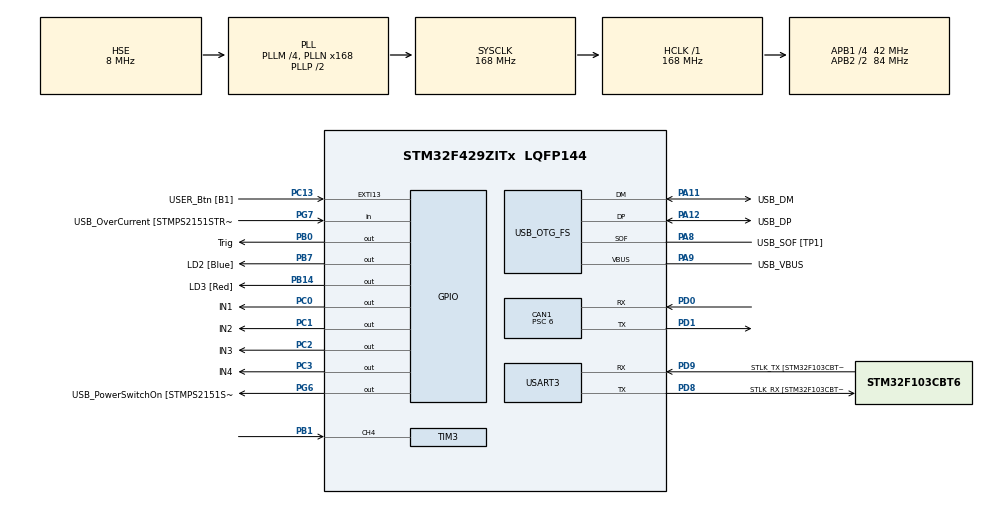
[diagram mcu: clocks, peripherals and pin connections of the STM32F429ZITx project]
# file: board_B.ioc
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CAN1.ABOM=ENABLE
CAN1.BS1=CAN_BS1_11TQ
CAN1.BS2=CAN_BS2_2TQ
CAN1.CalculateBaudRate=500000
CAN1.CalculateTimeBit=2000
CAN1.CalculateTimeQuantum=142.85714285714286
CAN1.NART=ENABLE
CAN1.Prescaler=6
FREERTOS.Tasks01=systemTask,-2,1024,SystemTask,Default,NULL,Dynamic,NULL,NULL;motorTask,0,1024,MotorControlTask,Default,NULL,Dynamic,NULL,NULL;ultraCanTask,0,1024,UltrasonicCanTask,Default,NULL,Dynamic,NULL,NULL
Mcu.Family=STM32F4
Mcu.Name=STM32F429ZITx
Mcu.Package=LQFP144
NVIC.CAN1_RX0_IRQn=true\:5\:0\:false\:false\:true\:true\:true\:true\:true
NVIC.PriorityGroup=NVIC_PRIORITYGROUP_4
NVIC.TIM3_IRQn=true\:5\:0\:false\:false\:true\:true\:true\:true\:true
PA1.GPIO_Label=RMII_REF_CLK [LAN8742A-CZ-TR_REFCLK0]
PA1.Signal=ETH_REF_CLK
PA10.GPIO_Label=USB_ID
PA10.Signal=USB_OTG_FS_ID
PA11.GPIO_Label=USB_DM
PA11.Mode=Device_Only
PA11.Signal=USB_OTG_FS_DM
PA12.GPIO_Label=USB_DP
PA12.Mode=Device_Only
PA12.Signal=USB_OTG_FS_DP
PA13.GPIO_Label=TMS
PA13.Mode=Serial_Wire
PA13.Signal=SYS_JTMS-SWDIO
PA14.GPIO_Label=TCK
PA14.Mode=Serial_Wire
PA14.Signal=SYS_JTCK-SWCLK
PA2.GPIO_Label=RMII_MDIO [LAN8742A-CZ-TR_MDIO]
PA2.Signal=ETH_MDIO
PA7.GPIO_Label=RMII_CRS_DV [LAN8742A-CZ-TR_CRS_DV]
PA7.Signal=ETH_CRS_DV
PA8.GPIO_Label=USB_SOF [TP1]
PA8.Mode=Activate_SOF_FS
PA8.Signal=USB_OTG_FS_SOF
PA9.GPIO_Label=USB_VBUS
PA9.Mode=Activate_VBUS
PA9.Signal=USB_OTG_FS_VBUS
PB0.GPIO_Label=Trig
PB0.Signal=GPIO_Output
PB1.Signal=S_TIM3_CH4
PB13.GPIO_Label=RMII_TXD1 [LAN8742A-CZ-TR_TXD1]
PB13.Signal=ETH_TXD1
PB14.GPIO_Label=LD3 [Red]
PB14.Signal=GPIO_Output
PB7.GPIO_Label=LD2 [Blue]
PB7.Signal=GPIO_Output
PC0.GPIO_Label=IN1
PC0.Signal=GPIO_Output
PC1.GPIO_Label=IN2
PC1.Signal=GPIO_Output
PC13.GPIO_Label=USER_Btn [B1]
PC13.Signal=GPXTI13
PC14/OSC32_IN.Mode=LSE-External-Oscillator
PC14/OSC32_IN.Signal=RCC_OSC32_IN
PC15/OSC32_OUT.Mode=LSE-External-Oscillator
PC15/OSC32_OUT.Signal=RCC_OSC32_OUT
PC2.GPIO_Label=IN3
PC2.Signal=GPIO_Output
PC3.GPIO_Label=IN4
PC3.Signal=GPIO_Output
PC4.GPIO_Label=RMII_RXD0 [LAN8742A-CZ-TR_RXD0]
PC4.Signal=ETH_RXD0
PC5.GPIO_Label=RMII_RXD1 [LAN8742A-CZ-TR_RXD1]
PC5.Signal=ETH_RXD1
PD0.Mode=CAN_Activate
PD0.Signal=CAN1_RX
PD1.Mode=CAN_Activate
PD1.Signal=CAN1_TX
PD8.GPIO_Label=STLK_RX [STM32F103CBT6_PA3]
PD8.Mode=Asynchronous
PD8.Signal=USART3_TX
PD9.GPIO_Label=STLK_TX [STM32F103CBT6_PA2]
PD9.Mode=Asynchronous
PD9.Signal=USART3_RX
PG11.GPIO_Label=RMII_TX_EN [LAN8742A-CZ-TR_TXEN]
PG11.Signal=ETH_TX_EN
PG13.GPIO_Label=RMII_TXD0 [LAN8742A-CZ-TR_TXD0]
PG13.Signal=ETH_TXD0
PG6.GPIO_Label=USB_PowerSwitchOn [STMPS2151STR_EN]
PG6.Signal=GPIO_Output
PG7.GPIO_Label=USB_OverCurrent [STMPS2151STR_FAULT]
PG7.Signal=GPIO_Input
PH0/OSC_IN.GPIO_Label=MCO [STM32F103CBT6_PA8]
PH0/OSC_IN.Mode=HSE-External-Clock-Source
PH0/OSC_IN.Signal=RCC_OSC_IN
PH1/OSC_OUT.Mode=HSE-External-Clock-Source
PH1/OSC_OUT.Signal=RCC_OSC_OUT
ProjectManager.HeapSize=0x200
ProjectManager.StackSize=0x400
ProjectManager.TargetToolchain=STM32CubeIDE
RCC.48MHZClocksFreq_Value=48000000
RCC.AHBFreq_Value=168000000
RCC.APB1CLKDivider=RCC_HCLK_DIV4
RCC.APB1Freq_Value=42000000
RCC.APB1TimFreq_Value=84000000
RCC.APB2CLKDivider=RCC_HCLK_DIV2
RCC.APB2Freq_Value=84000000
RCC.APB2TimCLKDivider=2
RCC.APB2TimFreq_Value=168000000
RCC.CortexFreq_Value=168000000
RCC.HCLKFreq_Value=168000000
RCC.HSE_VALUE=8000000
RCC.HSI_VALUE=16000000
RCC.PLLM=4
RCC.PLLMUL=RCC_PLL_MUL9
RCC.PLLN=168
RCC.PLLQ=7
RCC.PRESCALERUSB=RCC_USBCLKSOURCE_PLL_DIV1_5
RCC.SYSCLKFreq_VALUE=168000000
RCC.SYSCLKSource=RCC_SYSCLKSOURCE_PLLCLK
RCC.SYSCLKSourceVirtual=RCC_SYSCLKSOURCE_PLLCLK
RCC.USBFreq_Value=48000000
RCC.VCOOutputFreq_Value=336000000
SH.S_TIM3_CH4.0=TIM3_CH4,Input_Capture4_from_TI4
TIM3.Channel-Input_Capture4_from_TI4=TIM_CHANNEL_4
TIM3.Prescaler=84-1
USART3.VirtualMode=VM_ASYNC
USB_OTG_FS.VirtualMode=Device_Only
VP_FREERTOS_VS_CMSIS_V1.Mode=CMSIS_V1
VP_TIM3_VS_ClockSourceINT.Mode=Internal
board=NUCLEO-F429ZI

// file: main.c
/* USER CODE BEGIN Header */
/**
  ******************************************************************************
  * @file           : main.c
  * @brief          : Main program body
  ******************************************************************************
  * @attention
  *
  * Copyright (c) 2026 STMicroelectronics.
  * All rights reserved.
  *
  * This software is licensed under terms that can be found in the LICENSE file
  * in the root directory of this software component.
  * If no LICENSE file comes with this software, it is provided AS-IS.
  *
  ******************************************************************************
  */
/* USER CODE END Header */
#include "main.h"
#include "cmsis_os.h"

/* USER CODE BEGIN Includes */
#include <stdio.h>
/* USER CODE END Includes */

/* USER CODE BEGIN PD */
#define CAN_ID_B_ULTRA_CM     0x201
#define CAN_ID_B_MOTOR_ANGLE  0x202
/* USER CODE END PD */

CAN_HandleTypeDef hcan1;

TIM_HandleTypeDef htim3;

UART_HandleTypeDef huart3;

PCD_HandleTypeDef hpcd_USB_OTG_FS;

osThreadId systemTaskHandle;
osThreadId motorTaskHandle;
osThreadId ultraCanTaskHandle;
/* USER CODE BEGIN PV */
osSemaphoreId ultraSemHandle;
osMutexId uartMutexHandle;
/* USER CODE END PV */

void SystemClock_Config(void);
static void MX_GPIO_Init(void);
static void MX_CAN1_Init(void);
static void MX_TIM3_Init(void);
static void MX_USART3_UART_Init(void);
static void MX_USB_OTG_FS_PCD_Init(void);
void SystemTask(void const * argument);
void MotorControlTask(void const * argument);
void UltrasonicCanTask(void const * argument);

/* USER CODE BEGIN 0 */

/* === Motor Command from CAN === */
volatile int32_t motor_step_count = 0;
volatile float motor_angle = 0.0f;

/* === Ultrasonic === */
volatile uint32_t ic_rise = 0;
volatile uint32_t ic_fall = 0;
volatile uint8_t  ic_state = 0;
volatile uint32_t pulse_width_us = 0;

int _write(int file, char *ptr, int len)
{
    // 커널 시작 전에는 뮤텍스 안 씀
    if (osKernelRunning() && uartMutexHandle)
        osMutexWait(uartMutexHandle, osWaitForever);

    HAL_UART_Transmit(&huart3, (uint8_t*)ptr, len, 100);

    if (osKernelRunning() && uartMutexHandle)
        osMutexRelease(uartMutexHandle);

    return len;
}

static const uint8_t step_seq[4][4] = {
    {1,1,0,0},
    {0,1,1,0},
    {0,0,1,1},
    {1,0,0,1}
};

static inline void DWT_Init(void)
{
    CoreDebug->DEMCR |= CoreDebug_DEMCR_TRCENA_Msk;
    DWT->CYCCNT = 0;
    DWT->CTRL |= DWT_CTRL_CYCCNTENA_Msk;
}

static inline void delay_us(uint32_t us)
{
    uint32_t start = DWT->CYCCNT;
    uint32_t ticks = us * (SystemCoreClock / 1000000);
    while ((DWT->CYCCNT - start) < ticks);
}

/* === CAN === */
void CAN_Filter_Config(void);
void CAN_Send(uint16_t id, uint8_t *data, uint8_t len);

/* === Ultrasonic Trigger === */
void Ultrasonic_Trigger(void);
/* USER CODE END 0 */

int main(void)
{

  /* MCU Configuration--------------------------------------------------------*/

  /* Reset of all peripherals, Initializes the Flash interface and the Systick. */
  HAL_Init();

  /* Configure the system clock */
  SystemClock_Config();

  /* Initialize all configured peripherals */
  MX_GPIO_Init();
  MX_CAN1_Init();
  MX_TIM3_Init();
  MX_USART3_UART_Init();
  MX_USB_OTG_FS_PCD_Init();
  /* USER CODE BEGIN 2 */
  DWT_Init();
  /* CAN */
  CAN_Filter_Config();
  HAL_CAN_Start(&hcan1);

/*   CAN RX 인터럽트 활성화
  HAL_CAN_ActivateNotification(
      &hcan1,
      CAN_IT_RX_FIFO0_MSG_PENDING
  );*/

  /* TIM3 Input Capture Start */
  HAL_TIM_IC_Start_IT(&htim3, TIM_CHANNEL_4);
  /* USER CODE END 2 */

  /* USER CODE BEGIN RTOS_MUTEX */
  osMutexDef(uartMutex);
  uartMutexHandle = osMutexCreate(osMutex(uartMutex));
  /* USER CODE END RTOS_MUTEX */

  /* USER CODE BEGIN RTOS_SEMAPHORES */
  osSemaphoreDef(ultraSem);
  ultraSemHandle = osSemaphoreCreate(osSemaphore(ultraSem), 1);
  osSemaphoreWait(ultraSemHandle, 0); // 초기값 0
  /* USER CODE END RTOS_SEMAPHORES */

  /* Create the thread(s) */
  /* definition and creation of systemTask */
  osThreadDef(systemTask, SystemTask, osPriorityLow, 0, 1024);
  systemTaskHandle = osThreadCreate(osThread(systemTask), NULL);

  /* definition and creation of motorTask */
  osThreadDef(motorTask, MotorControlTask, osPriorityNormal, 0, 1024);
  motorTaskHandle = osThreadCreate(osThread(motorTask), NULL);

  /* definition and creation of ultraCanTask */
  osThreadDef(ultraCanTask, UltrasonicCanTask, osPriorityNormal, 0, 1024);
  ultraCanTaskHandle = osThreadCreate(osThread(ultraCanTask), NULL);

  /* Start scheduler */
  osKernelStart();

  /* We should never get here as control is now taken by the scheduler */

  /* Infinite loop */
  while (1)
  {

  }
}

void SystemClock_Config(void)
{
  RCC_OscInitTypeDef RCC_OscInitStruct = {0};
  RCC_ClkInitTypeDef RCC_ClkInitStruct = {0};

  /** Configure the main internal regulator output voltage
  */
  __HAL_RCC_PWR_CLK_ENABLE();
  __HAL_PWR_VOLTAGESCALING_CONFIG(PWR_REGULATOR_VOLTAGE_SCALE1);

  /** Initializes the RCC Oscillators according to the specified parameters
  * in the RCC_OscInitTypeDef structure.
  */
  RCC_OscInitStruct.OscillatorType = RCC_OSCILLATORTYPE_HSE;
  RCC_OscInitStruct.HSEState = RCC_HSE_BYPASS;
  RCC_OscInitStruct.PLL.PLLState = RCC_PLL_ON;
  RCC_OscInitStruct.PLL.PLLSource = RCC_PLLSOURCE_HSE;
  RCC_OscInitStruct.PLL.PLLM = 4;
  RCC_OscInitStruct.PLL.PLLN = 168;
  RCC_OscInitStruct.PLL.PLLP = RCC_PLLP_DIV2;
  RCC_OscInitStruct.PLL.PLLQ = 7;
  if (HAL_RCC_OscConfig(&RCC_OscInitStruct) != HAL_OK)
  {
    Error_Handler();
  }

  /** Initializes the CPU, AHB and APB buses clocks
  */
  RCC_ClkInitStruct.ClockType = RCC_CLOCKTYPE_HCLK|RCC_CLOCKTYPE_SYSCLK
                              |RCC_CLOCKTYPE_PCLK1|RCC_CLOCKTYPE_PCLK2;
  RCC_ClkInitStruct.SYSCLKSource = RCC_SYSCLKSOURCE_PLLCLK;
  RCC_ClkInitStruct.AHBCLKDivider = RCC_SYSCLK_DIV1;
  RCC_ClkInitStruct.APB1CLKDivider = RCC_HCLK_DIV4;
  RCC_ClkInitStruct.APB2CLKDivider = RCC_HCLK_DIV2;

  if (HAL_RCC_ClockConfig(&RCC_ClkInitStruct, FLASH_LATENCY_5) != HAL_OK)
  {
    Error_Handler();
  }
}

static void MX_CAN1_Init(void)
{

  hcan1.Instance = CAN1;
  hcan1.Init.Prescaler = 6;
  hcan1.Init.Mode = CAN_MODE_NORMAL;
  hcan1.Init.SyncJumpWidth = CAN_SJW_1TQ;
  hcan1.Init.TimeSeg1 = CAN_BS1_11TQ;
  hcan1.Init.TimeSeg2 = CAN_BS2_2TQ;
  hcan1.Init.TimeTriggeredMode = DISABLE;
  hcan1.Init.AutoBusOff = ENABLE;
  hcan1.Init.AutoWakeUp = DISABLE;
  hcan1.Init.AutoRetransmission = ENABLE;
  hcan1.Init.ReceiveFifoLocked = DISABLE;
  hcan1.Init.TransmitFifoPriority = DISABLE;
  if (HAL_CAN_Init(&hcan1) != HAL_OK)
  {
    Error_Handler();
  }

}

static void MX_TIM3_Init(void)
{

  TIM_ClockConfigTypeDef sClockSourceConfig = {0};
  TIM_MasterConfigTypeDef sMasterConfig = {0};
  TIM_IC_InitTypeDef sConfigIC = {0};

  htim3.Instance = TIM3;
  htim3.Init.Prescaler = 84-1;
  htim3.Init.CounterMode = TIM_COUNTERMODE_UP;
  htim3.Init.Period = 65535;
  htim3.Init.ClockDivision = TIM_CLOCKDIVISION_DIV1;
  htim3.Init.AutoReloadPreload = TIM_AUTORELOAD_PRELOAD_DISABLE;
  if (HAL_TIM_Base_Init(&htim3) != HAL_OK)
  {
    Error_Handler();
  }
  sClockSourceConfig.ClockSource = TIM_CLOCKSOURCE_INTERNAL;
  if (HAL_TIM_ConfigClockSource(&htim3, &sClockSourceConfig) != HAL_OK)
  {
    Error_Handler();
  }
  if (HAL_TIM_IC_Init(&htim3) != HAL_OK)
  {
    Error_Handler();
  }
  sMasterConfig.MasterOutputTrigger = TIM_TRGO_RESET;
  sMasterConfig.MasterSlaveMode = TIM_MASTERSLAVEMODE_DISABLE;
  if (HAL_TIMEx_MasterConfigSynchronization(&htim3, &sMasterConfig) != HAL_OK)
  {
    Error_Handler();
  }
  sConfigIC.ICPolarity = TIM_INPUTCHANNELPOLARITY_RISING;
  sConfigIC.ICSelection = TIM_ICSELECTION_DIRECTTI;
  sConfigIC.ICPrescaler = TIM_ICPSC_DIV1;
  sConfigIC.ICFilter = 0;
  if (HAL_TIM_IC_ConfigChannel(&htim3, &sConfigIC, TIM_CHANNEL_4) != HAL_OK)
  {
    Error_Handler();
  }

}

static void MX_USART3_UART_Init(void)
{

  huart3.Instance = USART3;
  huart3.Init.BaudRate = 115200;
  huart3.Init.WordLength = UART_WORDLENGTH_8B;
  huart3.Init.StopBits = UART_STOPBITS_1;
  huart3.Init.Parity = UART_PARITY_NONE;
  huart3.Init.Mode = UART_MODE_TX_RX;
  huart3.Init.HwFlowCtl = UART_HWCONTROL_NONE;
  huart3.Init.OverSampling = UART_OVERSAMPLING_16;
  if (HAL_UART_Init(&huart3) != HAL_OK)
  {
    Error_Handler();
  }

}

static void MX_USB_OTG_FS_PCD_Init(void)
{

  hpcd_USB_OTG_FS.Instance = USB_OTG_FS;
  hpcd_USB_OTG_FS.Init.dev_endpoints = 4;
  hpcd_USB_OTG_FS.Init.speed = PCD_SPEED_FULL;
  hpcd_USB_OTG_FS.Init.dma_enable = DISABLE;
  hpcd_USB_OTG_FS.Init.phy_itface = PCD_PHY_EMBEDDED;
  hpcd_USB_OTG_FS.Init.Sof_enable = ENABLE;
  hpcd_USB_OTG_FS.Init.low_power_enable = DISABLE;
  hpcd_USB_OTG_FS.Init.lpm_enable = DISABLE;
  hpcd_USB_OTG_FS.Init.vbus_sensing_enable = ENABLE;
  hpcd_USB_OTG_FS.Init.use_dedicated_ep1 = DISABLE;
  if (HAL_PCD_Init(&hpcd_USB_OTG_FS) != HAL_OK)
  {
    Error_Handler();
  }

}

static void MX_GPIO_Init(void)
{
  GPIO_InitTypeDef GPIO_InitStruct = {0};

  /* GPIO Ports Clock Enable */
  __HAL_RCC_GPIOC_CLK_ENABLE();
  __HAL_RCC_GPIOH_CLK_ENABLE();
  __HAL_RCC_GPIOA_CLK_ENABLE();
  __HAL_RCC_GPIOB_CLK_ENABLE();
  __HAL_RCC_GPIOD_CLK_ENABLE();
  __HAL_RCC_GPIOG_CLK_ENABLE();

  /*Configure GPIO pin Output Level */
  HAL_GPIO_WritePin(GPIOC, IN1_Pin|IN2_Pin|IN3_Pin|IN4_Pin, GPIO_PIN_RESET);

  /*Configure GPIO pin Output Level */
/*  HAL_GPIO_WritePin(Trig_GPIO_Port, Trig_Pin, GPIO_PIN_SET);
  delay_us(10);*/
  HAL_GPIO_WritePin(Trig_GPIO_Port, Trig_Pin, GPIO_PIN_RESET);

  /*Configure GPIO pin Output Level */
  HAL_GPIO_WritePin(USB_PowerSwitchOn_GPIO_Port, USB_PowerSwitchOn_Pin, GPIO_PIN_RESET);

  /*Configure GPIO pin : USER_Btn_Pin */
  GPIO_InitStruct.Pin = USER_Btn_Pin;
  GPIO_InitStruct.Mode = GPIO_MODE_IT_RISING;
  GPIO_InitStruct.Pull = GPIO_NOPULL;
  HAL_GPIO_Init(USER_Btn_GPIO_Port, &GPIO_InitStruct);

  /*Configure GPIO pins : IN1_Pin IN2_Pin IN3_Pin IN4_Pin */
  GPIO_InitStruct.Pin = IN1_Pin|IN2_Pin|IN3_Pin|IN4_Pin;
  GPIO_InitStruct.Mode = GPIO_MODE_OUTPUT_PP;
  GPIO_InitStruct.Pull = GPIO_NOPULL;
  GPIO_InitStruct.Speed = GPIO_SPEED_FREQ_LOW;
  HAL_GPIO_Init(GPIOC, &GPIO_InitStruct);

  /*Configure GPIO pins : RMII_REF_CLK_Pin RMII_MDIO_Pin RMII_CRS_DV_Pin */
  GPIO_InitStruct.Pin = RMII_REF_CLK_Pin|RMII_MDIO_Pin|RMII_CRS_DV_Pin;
  GPIO_InitStruct.Mode = GPIO_MODE_AF_PP;
  GPIO_InitStruct.Pull = GPIO_NOPULL;
  GPIO_InitStruct.Speed = GPIO_SPEED_FREQ_VERY_HIGH;
  GPIO_InitStruct.Alternate = GPIO_AF11_ETH;
  HAL_GPIO_Init(GPIOA, &GPIO_InitStruct);

  /*Configure GPIO pins : RMII_RXD0_Pin RMII_RXD1_Pin */
  GPIO_InitStruct.Pin = RMII_RXD0_Pin|RMII_RXD1_Pin;
  GPIO_InitStruct.Mode = GPIO_MODE_AF_PP;
  GPIO_InitStruct.Pull = GPIO_NOPULL;
  GPIO_InitStruct.Speed = GPIO_SPEED_FREQ_VERY_HIGH;
  GPIO_InitStruct.Alternate = GPIO_AF11_ETH;
  HAL_GPIO_Init(GPIOC, &GPIO_InitStruct);

  /*Configure GPIO pins : Trig_Pin LD3_Pin LD2_Pin */
  GPIO_InitStruct.Pin = Trig_Pin|LD3_Pin|LD2_Pin;
  GPIO_InitStruct.Mode = GPIO_MODE_OUTPUT_PP;
  GPIO_InitStruct.Pull = GPIO_NOPULL;
  GPIO_InitStruct.Speed = GPIO_SPEED_FREQ_LOW;
  HAL_GPIO_Init(GPIOB, &GPIO_InitStruct);

  /*Configure GPIO pin : RMII_TXD1_Pin */
  GPIO_InitStruct.Pin = RMII_TXD1_Pin;
  GPIO_InitStruct.Mode = GPIO_MODE_AF_PP;
  GPIO_InitStruct.Pull = GPIO_NOPULL;
  GPIO_InitStruct.Speed = GPIO_SPEED_FREQ_VERY_HIGH;
  GPIO_InitStruct.Alternate = GPIO_AF11_ETH;
  HAL_GPIO_Init(RMII_TXD1_GPIO_Port, &GPIO_InitStruct);

  /*Configure GPIO pin : USB_PowerSwitchOn_Pin */
  GPIO_InitStruct.Pin = USB_PowerSwitchOn_Pin;
  GPIO_InitStruct.Mode = GPIO_MODE_OUTPUT_PP;
  GPIO_InitStruct.Pull = GPIO_NOPULL;
  GPIO_InitStruct.Speed = GPIO_SPEED_FREQ_LOW;
  HAL_GPIO_Init(USB_PowerSwitchOn_GPIO_Port, &GPIO_InitStruct);

  /*Configure GPIO pin : USB_OverCurrent_Pin */
  GPIO_InitStruct.Pin = USB_OverCurrent_Pin;
  GPIO_InitStruct.Mode = GPIO_MODE_INPUT;
  GPIO_InitStruct.Pull = GPIO_NOPULL;
  HAL_GPIO_Init(USB_OverCurrent_GPIO_Port, &GPIO_InitStruct);

  /*Configure GPIO pins : RMII_TX_EN_Pin RMII_TXD0_Pin */
  GPIO_InitStruct.Pin = RMII_TX_EN_Pin|RMII_TXD0_Pin;
  GPIO_InitStruct.Mode = GPIO_MODE_AF_PP;
  GPIO_InitStruct.Pull = GPIO_NOPULL;
  GPIO_InitStruct.Speed = GPIO_SPEED_FREQ_VERY_HIGH;
  GPIO_InitStruct.Alternate = GPIO_AF11_ETH;
  HAL_GPIO_Init(GPIOG, &GPIO_InitStruct);

}

/* USER CODE BEGIN 4 */
/*void HAL_CAN_RxFifo0MsgPendingCallback(CAN_HandleTypeDef *hcan)
{
	CAN_RxHeaderTypeDef rxHeader;
	uint8_t data[8];

	HAL_CAN_GetRxMessage(hcan, CAN_RX_FIFO0, &rxHeader, data);

	if (rxHeader.StdId == 0x101)   // 보드 A → 모터 명령
	{
		rx_step_delay = data[0];   // 스텝 딜레이(ms)
		rx_dir        = data[1];   // 방향
		rx_motor_cmd_updated = 1;
	}
}*/

void Motor_Step_Output(uint8_t step)
{
    HAL_GPIO_WritePin(GPIOC, IN1_Pin, step_seq[step][0] ? GPIO_PIN_SET : GPIO_PIN_RESET);
    HAL_GPIO_WritePin(GPIOC, IN2_Pin, step_seq[step][1] ? GPIO_PIN_SET : GPIO_PIN_RESET);
    HAL_GPIO_WritePin(GPIOC, IN3_Pin, step_seq[step][2] ? GPIO_PIN_SET : GPIO_PIN_RESET);
    HAL_GPIO_WritePin(GPIOC, IN4_Pin, step_seq[step][3] ? GPIO_PIN_SET : GPIO_PIN_RESET);
}

void HAL_TIM_IC_CaptureCallback(TIM_HandleTypeDef *htim)
{
    if (htim->Instance == TIM3 &&
        htim->Channel == HAL_TIM_ACTIVE_CHANNEL_4)
    {
        if (ic_state == 0)
        {
            ic_rise = HAL_TIM_ReadCapturedValue(htim, TIM_CHANNEL_4);
            __HAL_TIM_SET_CAPTUREPOLARITY(
                htim,
                TIM_CHANNEL_4,
                TIM_INPUTCHANNELPOLARITY_FALLING
            );
            ic_state = 1;
        }
        else
        {
            ic_fall = HAL_TIM_ReadCapturedValue(htim, TIM_CHANNEL_4);
            __HAL_TIM_SET_CAPTUREPOLARITY(
                htim,
                TIM_CHANNEL_4,
                TIM_INPUTCHANNELPOLARITY_RISING
            );

            if (ic_fall > ic_rise)
                pulse_width_us = ic_fall - ic_rise;
            else
                pulse_width_us = (0xFFFF - ic_rise) + ic_fall;

            ic_state = 0;
            osSemaphoreRelease(ultraSemHandle);
        }
    }
}

void Ultrasonic_Trigger(void)
{
    HAL_GPIO_WritePin(GPIOB, GPIO_PIN_0, GPIO_PIN_SET);
    delay_us(10);               // 10µs 이상이면 OK
    HAL_GPIO_WritePin(GPIOB, GPIO_PIN_0, GPIO_PIN_RESET);
}

void CAN_Filter_Config(void)
{
    CAN_FilterTypeDef filter;

    filter.FilterBank = 0;
    filter.FilterMode = CAN_FILTERMODE_IDMASK;
    filter.FilterScale = CAN_FILTERSCALE_32BIT;

    filter.FilterIdHigh = 0x0000;
    filter.FilterIdLow  = 0x0000;
    filter.FilterMaskIdHigh = 0x0000;
    filter.FilterMaskIdLow  = 0x0000;

    filter.FilterFIFOAssignment = CAN_RX_FIFO0;
    filter.FilterActivation = ENABLE;

    HAL_CAN_ConfigFilter(&hcan1, &filter);
}

void CAN_Send(uint16_t id, uint8_t *data, uint8_t len)
{
    CAN_TxHeaderTypeDef txHeader;
    uint32_t txMailbox;

    txHeader.StdId = id;
    txHeader.IDE   = CAN_ID_STD;
    txHeader.RTR   = CAN_RTR_DATA;
    txHeader.DLC   = len;
    txHeader.TransmitGlobalTime = DISABLE;

    while (HAL_CAN_GetTxMailboxesFreeLevel(&hcan1) == 0);

    HAL_CAN_AddTxMessage(&hcan1, &txHeader, data, &txMailbox);
}
/* USER CODE END 4 */

void SystemTask(void const * argument)
{
  /* USER CODE BEGIN 5 */
	for (;;)
	{
/*		printf("SystemTask alive\r\n");*/
		HAL_GPIO_TogglePin(GPIOB, LD2_Pin);
		osDelay(1000);
	}
  /* USER CODE END 5 */
}

void MotorControlTask(void const * argument)
{
  /* USER CODE BEGIN MotorControlTask */
	static uint32_t print_cnt = 0;
	uint8_t step = 0;

	// 1회전 스텝수(너의 구동 방식에 맞게 조정)
	const int32_t STEPS_PER_REV = 2048;   // 필요하면 2048 등으로 바꿔서 캘리브레이션
	const uint32_t STEP_DELAY_MS = 3;   // 일정 속도

	uint8_t can_data[2];
  /* Infinite loop */
	for(;;)
	{
		/* 1) 모터 구동 */
		Motor_Step_Output(step);
		step = (step + 1) % 4;

		/* 2) 스텝 누적 */
		motor_step_count++;

		/* 3) 각도 계산 */
		int32_t mod = motor_step_count % STEPS_PER_REV;
		if (mod < 0) mod += STEPS_PER_REV;

		uint16_t angle_x10 =
			(uint16_t)((mod * 3600) / STEPS_PER_REV); // 0~3599

		/* 4) 주기적 printf */
		print_cnt++;
		if (print_cnt >= 50)
		{
			print_cnt = 0;
			printf("[B] STEP=%ld  ANGLE=%.1f deg\r\n",
				   motor_step_count,
				   angle_x10 / 10.0f);
		}

		/* 5) CAN 송신 */
		can_data[0] = (angle_x10 >> 8) & 0xFF;
		can_data[1] = angle_x10 & 0xFF;

		CAN_Send(CAN_ID_B_MOTOR_ANGLE, can_data, 2);

		osDelay(STEP_DELAY_MS);
	}
  /* USER CODE END MotorControlTask */
}

void UltrasonicCanTask(void const * argument)
{
  /* USER CODE BEGIN UltrasonicCanTask */
	uint8_t can_data[2];
	/* Infinite loop */
	for(;;)
	{
		/* 1) 초음파 트리거 */
		Ultrasonic_Trigger();

		/* 2) Echo 캡처 대기 */
		if (osSemaphoreWait(ultraSemHandle, 100) == osOK)
		{
			/* 3) 거리 계산 */
			uint16_t distance_cm =
				(uint16_t)((pulse_width_us * 0.0343f) / 2.0f);

			/* 4) 디버그 출력 (여기가 정확한 위치) */
			printf("[B][ULTRA] pulse width=%lu us  distance=%u cm\r\n",
				   pulse_width_us,
				   distance_cm);

			/* 5) CAN 데이터 구성 */
			can_data[0] = (distance_cm >> 8) & 0xFF;
			can_data[1] = distance_cm & 0xFF;

			/* 6) CAN 송신 */
			CAN_Send(CAN_ID_B_ULTRA_CM, can_data, 2);
		}

		/* 7) 측정 주기 */
		osDelay(200);
	}
  /* USER CODE END UltrasonicCanTask */
}

void Error_Handler(void)
{
  __disable_irq();
  while (1)
  {
  }
}
